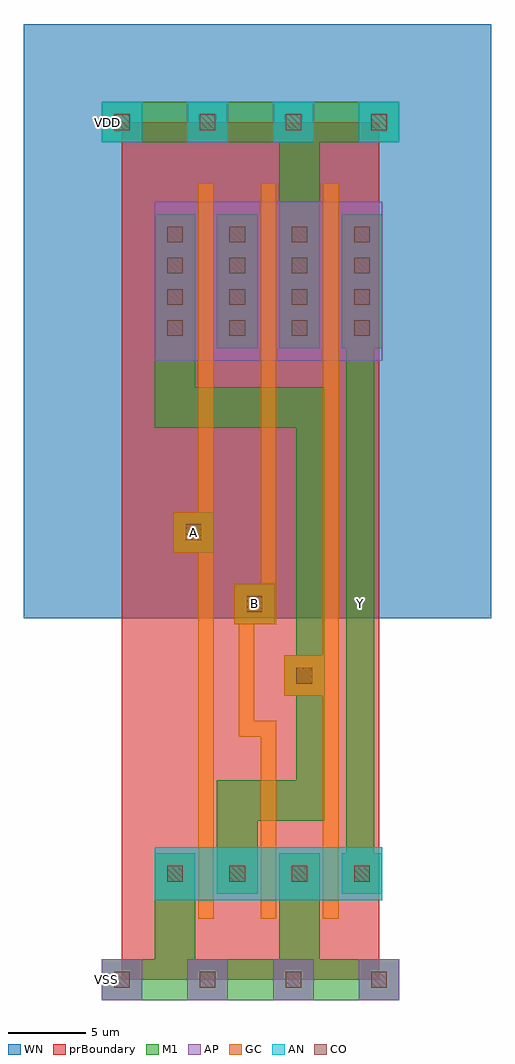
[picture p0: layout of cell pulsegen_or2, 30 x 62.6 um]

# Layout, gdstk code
import gdstk
lib = gdstk.Library(unit=1e-6, precision=1e-07)
def R(c, l, rs):  # rectangles x0, y0, x1, y1
    for r in rs: c.add(gdstk.rectangle(r[:2], r[2:], *l))
def A(c, l, x, y, w, h, nx, ny, dx, dy):  # array of equal rectangles
    R(c, l, [(x+i*dx, y+j*dy, x+i*dx+w, y+j*dy+h) for i in range(nx) for j in range(ny)])
def P(c, l, *ps):  # polygons
    for p in ps: c.add(gdstk.Polygon(p, *l))
AP = (3, 1)
AN = (3, 2)
GC = (8, 1)
CO = (11, 0)
M1 = (13, 0)
WN = (140, 0)
prBoundary = (235, 0)

fet_p = lib.new_cell('fet_p')
R(fet_p, AP, [(-7.3,-5.1,7.3,5.1)])
A(fet_p, CO, -6.5, -3.5, 1, 1, 4, 4, 4, 2)
A(fet_p, M1, -7.3, -4.3, 2.6, 8.6, 4, 1, 4, 0)
fet_p.add(gdstk.FlexPath([(0,-6.3),(0,6.3)], 1, ends="flush", simple_path=True, layer=8, datatype=1))  # GC
fet_p.add(gdstk.FlexPath([(-4,-6.3),(-4,6.3)], 1, ends="flush", simple_path=True, layer=8, datatype=1))  # GC
fet_p.add(gdstk.FlexPath([(4,-6.3),(4,6.3)], 1, ends="flush", simple_path=True, layer=8, datatype=1))  # GC

fet_n = lib.new_cell('fet_n')
R(fet_n, AN, [(-7.3,-1.7,7.3,1.7)])
A(fet_n, CO, -6.5, -0.5, 1, 1, 4, 1, 4, 0)
A(fet_n, M1, -7.3, -1.3, 2.6, 2.6, 4, 1, 4, 0)
fet_n.add(gdstk.FlexPath([(0,-2.9),(0,2.9)], 1, ends="flush", simple_path=True, layer=8, datatype=1))  # GC
fet_n.add(gdstk.FlexPath([(-4,-2.9),(-4,2.9)], 1, ends="flush", simple_path=True, layer=8, datatype=1))  # GC
fet_n.add(gdstk.FlexPath([(4,-2.9),(4,2.9)], 1, ends="flush", simple_path=True, layer=8, datatype=1))  # GC

cont_g = lib.new_cell('cont_g')
R(cont_g, GC, [(-1.3,-1.3,1.3,1.3)])
R(cont_g, CO, [(-0.5,-0.5,0.5,0.5)])
R(cont_g, M1, [(-1.3,-1.3,1.3,1.3)])

cont_p = lib.new_cell('cont_p')
R(cont_p, AP, [(-1.3,-1.3,1.3,1.3)])
R(cont_p, CO, [(-0.5,-0.5,0.5,0.5)])
R(cont_p, M1, [(-1.3,-1.3,1.3,1.3)])

cont_n = lib.new_cell('cont_n')
R(cont_n, AN, [(-1.3,-1.3,1.3,1.3)])
R(cont_n, CO, [(-0.5,-0.5,0.5,0.5)])
R(cont_n, M1, [(-1.3,-1.3,1.3,1.3)])

pulsegen_or2 = lib.new_cell('pulsegen_or2')
R(pulsegen_or2, GC, [(4.9,9.7,5.9,38.5), (12.9,9.7,13.9,38.5)])
P(pulsegen_or2, GC, [(8.9,9.7),(8.9,15.6),(7.5,15.6),(7.5,23.8),(8.9,23.8),(8.9,38.5),(9.9,38.5),(9.9,22.8),(8.5,22.8),(8.5,16.6),(9.9,16.6),(9.9,9.7)])
R(pulsegen_or2, M1, [(-1.3,-1.3,17.8,1.3), (2.1,1.3,4.7,5.5), (10.1,1.3,12.7,5.5), (14.4,8.1,16.2,40.5), (10.1,49.1,12.7,53.7), (-1.3,53.7,17.8,56.3)])
P(pulsegen_or2, M1, [(6.1,8.1),(6.1,12.8),(11.2,12.8),(11.2,35.4),(2.1,35.4),(2.1,40.5),(4.7,40.5),(4.7,38),(13,38),(13,10.2),(8.7,10.2),(8.7,8.1)])
R(pulsegen_or2, WN, [(-6.3,23.2,23.7,61.3)])
R(pulsegen_or2, prBoundary, [(0,0,16.5,55)])
pulsegen_or2.add(gdstk.Reference(fet_p, (9.4,44.8), x_reflection=True))
pulsegen_or2.add(gdstk.Reference(fet_n, (9.4,6.8), x_reflection=True))
pulsegen_or2.add(gdstk.Reference(cont_g, (4.6,28.7)))
pulsegen_or2.add(gdstk.Reference(cont_g, (11.7,19.5)))
r = gdstk.Reference(cont_p, (0,0), x_reflection=True); r.repetition = gdstk.Repetition(4, 1, v1=(5.5,0), v2=(0,0)); pulsegen_or2.add(r)
r = gdstk.Reference(cont_n, (0,55), x_reflection=True); r.repetition = gdstk.Repetition(4, 1, v1=(5.5,0), v2=(0,0)); pulsegen_or2.add(r)
pulsegen_or2.add(gdstk.Reference(cont_g, (8.5,24.1)))
pulsegen_or2.add(gdstk.Label('B', (8.5,24.1), layer=48, texttype=0))
pulsegen_or2.add(gdstk.Label('A', (4.6,28.7), layer=48, texttype=0))
pulsegen_or2.add(gdstk.Label('Y', (15.3,24.1), layer=48, texttype=0))
pulsegen_or2.add(gdstk.Label('VSS', (-1,0), layer=48, texttype=0))
pulsegen_or2.add(gdstk.Label('VDD', (-0.9,55), layer=48, texttype=0))

lib.write_gds('pulsegen_or2.gds')
